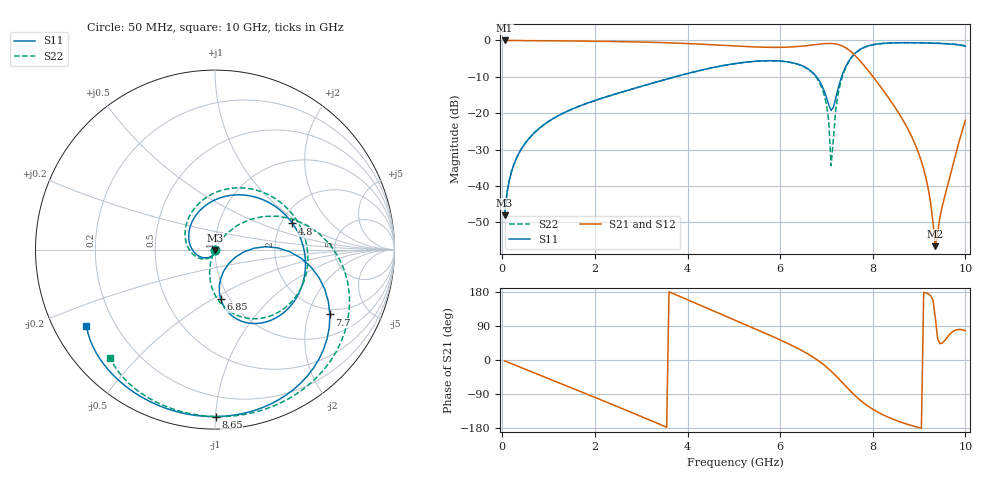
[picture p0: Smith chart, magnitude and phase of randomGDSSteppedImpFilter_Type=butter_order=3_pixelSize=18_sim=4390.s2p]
! freq	dB(S11)	phase(S11)	dB(S12)	phase(S12)
!  dB(S21)	phase(S21)	dB(S22)	phase(S22)
!S-par simulation data
#  GHz  S  DB  R 50
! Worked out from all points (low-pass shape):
!   200 points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, 50 MHz to 10 GHz, reference 50 ohm
!   highest |S21| = 0.00 dB at 50 MHz (marker M1); lowest = -56.5 dB at 9.35 GHz (marker M2)
!   |S21| within 3 dB of the highest: start of sweep to 7.52 GHz
!   lowest |S11| = -48.0 dB at 50 MHz (marker M3), VSWR 1.01, Z = 50 - j0.397 ohm
!   |S11| at or under -10 dB: start of sweep to 3.726 GHz; 6.786 GHz to 7.327 GHz (541.1 MHz wide, 7.67 % of centre)
!   |S22| runs from -48.0 to -0.6 dB; largest |S21 - S12| = 0
!   S11 on the Smith chart (normalised r, x): 50 MHz: 1.00, -0.01; 4.8 GHz: 2.30, +0.85; 6.85 GHz: 0.91, -0.54; 7.7 GHz: 1.77, -2.78; 8.65 GHz: 0.07, -1.00; 10 GHz: 0.10, -0.27
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0.05  -48.02 -91.7  -0.00 -2.5  -0.00 -2.5  -48.02 -91.3
0.2  -36.01 -100.2  -0.02 -9.9  -0.02 -9.9  -36.01 -98.9
0.5  -28.17 -116.6  -0.04 -24.6  -0.04 -24.6  -28.17 -113.3
1.75  -17.63 176.7  -0.17 -86.2  -0.17 -86.2  -17.65 -171.9
2.5  -14.49 137.0  -0.30 -123.7  -0.30 -123.7  -14.52 152.5
3.4  -11.15 90.0  -0.57 -169.7  -0.57 -169.7  -11.19 107.7
4.8  -6.83 18.7  -1.37 116.9  -1.37 116.9  -6.85 33.8
5.05  -6.31 6.2  -1.55 103.8  -1.55 103.8  -6.33 20.4
5.95  -5.62 -38.4  -1.90 55.9  -1.90 55.9  -5.64 -28.2
6.7  -8.79 -77.5  -1.25 8.4  -1.25 8.4  -8.96 -76.2
6.85  -11.17 -83.5  -1.01 -4.0  -1.01 -4.0  -11.61 -88.8
7.05  -17.77 -68.1  -0.82 -23.7  -0.82 -23.7  -22.20 -108.8
7.1  -19.22 -46.8  -0.83 -29.3  -0.83 -29.3  -34.43 -114.8
7.2  -15.90 -4.7  -0.96 -41.1  -0.96 -41.1  -19.04 53.8
7.3  -11.03 3.3  -1.30 -53.8  -1.30 -53.8  -11.89 41.0
7.7  -2.67 -29.5  -5.24 -103.1  -5.24 -103.1  -2.75 -8.9
8.35  -0.71 -75.2  -15.93 -151.8  -15.93 -151.8  -0.70 -59.4
8.65  -0.63 -89.8  -21.85 -165.8  -21.85 -165.8  -0.61 -74.8
9.1  -0.68 -109.0  -35.38 178.5  -35.38 178.5  -0.65 -94.4
9.25  -0.73 -115.1  -44.73 170.1  -44.73 170.1  -0.70 -100.6
9.35  -0.77 -119.1  -56.55 112.2  -56.55 112.2  -0.74 -104.6
10  -1.59 -149.4  -21.93 77.5  -21.93 77.5  -1.51 -133.9
